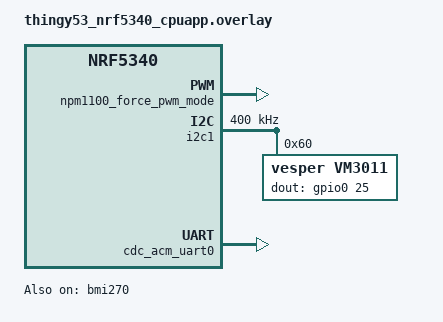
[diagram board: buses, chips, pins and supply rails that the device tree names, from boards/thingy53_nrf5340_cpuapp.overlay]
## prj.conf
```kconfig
# /* The Clear BSD License
#  *
#  * Copyright (c) 2025 EdgeImpulse Inc.
#  * All rights reserved.
#  *
#  * Redistribution and use in source and binary forms, with or without
#  * modification, are permitted (subject to the limitations in the disclaimer
#  * below) provided that the following conditions are met:
#  *
#  *   * Redistributions of source code must retain the above copyright notice,
#  *   this list of conditions and the following disclaimer.
#  *
#  *   * Redistributions in binary form must reproduce the above copyright
#  *   notice, this list of conditions and the following disclaimer in the
#  *   documentation and/or other materials provided with the distribution.
#  *
#  *   * Neither the name of the copyright holder nor the names of its
#  *   contributors may be used to endorse or promote products derived from this
#  *   software without specific prior written permission.
#  *
#  * NO EXPRESS OR IMPLIED LICENSES TO ANY PARTY'S PATENT RIGHTS ARE GRANTED BY
#  * THIS LICENSE. THIS SOFTWARE IS PROVIDED BY THE COPYRIGHT HOLDERS AND
#  * CONTRIBUTORS "AS IS" AND ANY EXPRESS OR IMPLIED WARRANTIES, INCLUDING, BUT NOT
#  * LIMITED TO, THE IMPLIED WARRANTIES OF MERCHANTABILITY AND FITNESS FOR A
#  * PARTICULAR PURPOSE ARE DISCLAIMED. IN NO EVENT SHALL THE COPYRIGHT HOLDER OR
#  * CONTRIBUTORS BE LIABLE FOR ANY DIRECT, INDIRECT, INCIDENTAL, SPECIAL,
#  * EXEMPLARY, OR CONSEQUENTIAL DAMAGES (INCLUDING, BUT NOT LIMITED TO,
#  * PROCUREMENT OF SUBSTITUTE GOODS OR SERVICES; LOSS OF USE, DATA, OR PROFITS; OR
#  * BUSINESS INTERRUPTION) HOWEVER CAUSED AND ON ANY THEORY OF LIABILITY, WHETHER
#  * IN CONTRACT, STRICT LIABILITY, OR TORT (INCLUDING NEGLIGENCE OR OTHERWISE)
#  * ARISING IN ANY WAY OUT OF THE USE OF THIS SOFTWARE, EVEN IF ADVISED OF THE
#  * POSSIBILITY OF SUCH DAMAGE.
#  */
################################################################################
# Application configuratin

# enable c++ support
CONFIG_CPLUSPLUS=y
CONFIG_STD_CPP11=y
CONFIG_LIB_CPLUSPLUS=y
CONFIG_NEWLIB_LIBC=y
CONFIG_NEWLIB_LIBC_FLOAT_PRINTF=y

# enable reboot from user space
CONFIG_REBOOT=y

# enable floating point unit
CONFIG_FPU=y

CONFIG_MAIN_STACK_SIZE=8192
CONFIG_SYSTEM_WORKQUEUE_STACK_SIZE=4096
CONFIG_EI_INFERENCE_THREAD_STACK=4096
CONFIG_HEAP_MEM_POOL_SIZE=170000

# serial console
CONFIG_UART_INTERRUPT_DRIVEN=y
CONFIG_CONSOLE_SUBSYS=n

CONFIG_NCS_SAMPLES_DEFAULTS=n
# Logging
CONFIG_ASSERT_NO_COND_INFO=y
CONFIG_ASSERT_NO_MSG_INFO=y

CONFIG_DEBUG=n
CONFIG_LOG=y
CONFIG_LOG_MODE_DEFERRED=y
CONFIG_LOG_PRINTK=y
CONFIG_LOG_BACKEND_UART=n
CONFIG_LOG_BACKEND_RTT=y

# configure Segger RTT
CONFIG_USE_SEGGER_RTT=y
CONFIG_SEGGER_RTT_BUFFER_SIZE_UP=4096

# configure bluetooth
CONFIG_BT=y
CONFIG_BT_PERIPHERAL=y
CONFIG_BT_DEVICE_NAME="Thingy-Jelle"
CONFIG_BT_DEVICE_APPEARANCE=833

CONFIG_BT_SMP=y
CONFIG_BT_SIGNING=y
CONFIG_BT_BONDABLE=y
CONFIG_BT_CONN_TX_MAX=64
CONFIG_BT_SETTINGS=y
CONFIG_SETTINGS=y

CONFIG_BT_PERIPHERAL_PREF_MIN_INT=16
CONFIG_BT_PERIPHERAL_PREF_MAX_INT=16
CONFIG_BT_PERIPHERAL_PREF_TIMEOUT=100
CONFIG_BT_GAP_AUTO_UPDATE_CONN_PARAMS=y
CONFIG_BT_RX_STACK_SIZE=4096

CONFIG_CJSON_LIB=y

# Bootloader and MCUmgr (OTA DFU) Configuration
CONFIG_MCUBOOT_IMAGE_VERSION="2.4.0+0"
CONFIG_NCS_SAMPLE_MCUMGR_BT_OTA_DFU=y
```

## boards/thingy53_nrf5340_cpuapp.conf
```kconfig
# /* The Clear BSD License
#  *
#  * Copyright (c) 2025 EdgeImpulse Inc.
#  * All rights reserved.
#  *
#  * Redistribution and use in source and binary forms, with or without
#  * modification, are permitted (subject to the limitations in the disclaimer
#  * below) provided that the following conditions are met:
#  *
#  *   * Redistributions of source code must retain the above copyright notice,
#  *   this list of conditions and the following disclaimer.
#  *
#  *   * Redistributions in binary form must reproduce the above copyright
#  *   notice, this list of conditions and the following disclaimer in the
#  *   documentation and/or other materials provided with the distribution.
#  *
#  *   * Neither the name of the copyright holder nor the names of its
#  *   contributors may be used to endorse or promote products derived from this
#  *   software without specific prior written permission.
#  *
#  * NO EXPRESS OR IMPLIED LICENSES TO ANY PARTY'S PATENT RIGHTS ARE GRANTED BY
#  * THIS LICENSE. THIS SOFTWARE IS PROVIDED BY THE COPYRIGHT HOLDERS AND
#  * CONTRIBUTORS "AS IS" AND ANY EXPRESS OR IMPLIED WARRANTIES, INCLUDING, BUT NOT
#  * LIMITED TO, THE IMPLIED WARRANTIES OF MERCHANTABILITY AND FITNESS FOR A
#  * PARTICULAR PURPOSE ARE DISCLAIMED. IN NO EVENT SHALL THE COPYRIGHT HOLDER OR
#  * CONTRIBUTORS BE LIABLE FOR ANY DIRECT, INDIRECT, INCIDENTAL, SPECIAL,
#  * EXEMPLARY, OR CONSEQUENTIAL DAMAGES (INCLUDING, BUT NOT LIMITED TO,
#  * PROCUREMENT OF SUBSTITUTE GOODS OR SERVICES; LOSS OF USE, DATA, OR PROFITS; OR
#  * BUSINESS INTERRUPTION) HOWEVER CAUSED AND ON ANY THEORY OF LIABILITY, WHETHER
#  * IN CONTRACT, STRICT LIABILITY, OR TORT (INCLUDING NEGLIGENCE OR OTHERWISE)
#  * ARISING IN ANY WAY OUT OF THE USE OF THIS SOFTWARE, EVEN IF ADVISED OF THE
#  * POSSIBILITY OF SUCH DAMAGE.
#  */
################################################################################
# Application configuration overlay - Thingy:53

CONFIG_STREAM_FLASH=y
CONFIG_FLASH_MAP=y
CONFIG_NVS=y
CONFIG_FLASH_SIMULATOR=n
CONFIG_SETTINGS_NVS=y

CONFIG_ZCBOR=y
CONFIG_ZCBOR_STOP_ON_ERROR=y

CONFIG_BT_L2CAP_TX_MTU=498
CONFIG_BT_BUF_ACL_RX_SIZE=502
CONFIG_BT_BUF_ACL_TX_SIZE=251

CONFIG_DK_LIBRARY=y

# Using built-in sensor
CONFIG_I2C=y
CONFIG_I2C_NRFX=y
CONFIG_SPI=y
CONFIG_NRFX_PDM=y
CONFIG_SENSOR=y

# 6-axis IMU (accelerometer + gyroscope)
CONFIG_BMI270=y

# acclerometer
CONFIG_ADXL362=y
CONFIG_ADXL362_ACCEL_RANGE_2G=y
CONFIG_ADXL362_ACCEL_ODR_400=y

# magnetometer
CONFIG_BMM150=y
CONFIG_BMM150_SAMPLING_RATE_RUNTIME=y
CONFIG_BMM150_SAMPLING_REP_XY=y
CONFIG_BMM150_SAMPLING_REP_Z=y
CONFIG_BMM150_PRESET_HIGH_ACCURACY=y

# color sensor
CONFIG_BH1749=y
CONFIG_BH1749_TRIGGER=n

# microphone
CONFIG_VM3011=y
CONFIG_VM3011_PDM_BUFFER_SIZE=1600
CONFIG_AUDIO=y
CONFIG_AUDIO_DMIC=y
CONFIG_AUDIO_DMIC_LOG_LEVEL_DBG=y

################################################################################
# External flash configuration
CONFIG_FLASH=y
CONFIG_FLASH_PAGE_LAYOUT=y
CONFIG_MPU_ALLOW_FLASH_WRITE=y

CONFIG_NORDIC_QSPI_NOR=y
CONFIG_NORDIC_QSPI_NOR_FLASH_LAYOUT_PAGE_SIZE=4096
CONFIG_NORDIC_QSPI_NOR_STACK_WRITE_BUFFER_SIZE=16

################################################################################
# Enable USB CDC ACM
CONFIG_USB_DEVICE_STACK=y
CONFIG_USB_NRFX_WORK_QUEUE_STACK_SIZE=1200
CONFIG_USB_DEVICE_PRODUCT="Application Thingy:53"
CONFIG_USB_DEVICE_VID=0x1915
CONFIG_USB_DEVICE_PID=0x530D
CONFIG_USB_CDC_ACM=y
CONFIG_USB_CDC_ACM_LOG_LEVEL_ERR=y
CONFIG_USB_DEVICE_LOG_LEVEL_ERR=y
```

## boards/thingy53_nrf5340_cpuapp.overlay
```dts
/* The Clear BSD License
 *
 * Copyright (c) 2025 EdgeImpulse Inc.
 * All rights reserved.
 *
 * Redistribution and use in source and binary forms, with or without
 * modification, are permitted (subject to the limitations in the disclaimer
 * below) provided that the following conditions are met:
 *
 *   * Redistributions of source code must retain the above copyright notice,
 *   this list of conditions and the following disclaimer.
 *
 *   * Redistributions in binary form must reproduce the above copyright
 *   notice, this list of conditions and the following disclaimer in the
 *   documentation and/or other materials provided with the distribution.
 *
 *   * Neither the name of the copyright holder nor the names of its
 *   contributors may be used to endorse or promote products derived from this
 *   software without specific prior written permission.
 *
 * NO EXPRESS OR IMPLIED LICENSES TO ANY PARTY'S PATENT RIGHTS ARE GRANTED BY
 * THIS LICENSE. THIS SOFTWARE IS PROVIDED BY THE COPYRIGHT HOLDERS AND
 * CONTRIBUTORS "AS IS" AND ANY EXPRESS OR IMPLIED WARRANTIES, INCLUDING, BUT NOT
 * LIMITED TO, THE IMPLIED WARRANTIES OF MERCHANTABILITY AND FITNESS FOR A
 * PARTICULAR PURPOSE ARE DISCLAIMED. IN NO EVENT SHALL THE COPYRIGHT HOLDER OR
 * CONTRIBUTORS BE LIABLE FOR ANY DIRECT, INDIRECT, INCIDENTAL, SPECIAL,
 * EXEMPLARY, OR CONSEQUENTIAL DAMAGES (INCLUDING, BUT NOT LIMITED TO,
 * PROCUREMENT OF SUBSTITUTE GOODS OR SERVICES; LOSS OF USE, DATA, OR PROFITS; OR
 * BUSINESS INTERRUPTION) HOWEVER CAUSED AND ON ANY THEORY OF LIABILITY, WHETHER
 * IN CONTRACT, STRICT LIABILITY, OR TORT (INCLUDING NEGLIGENCE OR OTHERWISE)
 * ARISING IN ANY WAY OUT OF THE USE OF THIS SOFTWARE, EVEN IF ADVISED OF THE
 * POSSIBILITY OF SUCH DAMAGE.
 */

&i2c1 {
    clock-frequency = <I2C_BITRATE_FAST>;
    vm3011: vm3011@60  {
        compatible = "vesper,vm3011";
        label = "VM3011";
        reg = <0x60>;
        clk-pin = <41>;
        data-pin = <27>;
        dout-gpios = <&gpio0 25 GPIO_ACTIVE_HIGH>;
    };
};

/ {
	npm1100_force_pwm_mode: npm1100_force_pwm_mode {
		status = "okay";
	};

	chosen {
		zephyr,console = &cdc_acm_uart0;
		zephyr,shell-uart = &cdc_acm_uart0;
		nordic,pm-ext-flash = &mx25r64;
	};

	aliases {
		light0 = &bh1749;
		bme68xi2c1 = &i2c1;
		mic0 = &i2c1;
		imu0 = &bmi270;
	};
};

/* 6-axis IMU (accelerometer + gyroscope), disabled by default in the board DTS */
&bmi270 {
	status = "okay";
};

&zephyr_udc0 {
	cdc_acm_uart0: cdc_acm_uart0 {
		compatible = "zephyr,cdc-acm-uart";
		label = "CDC_ACM_0";
	};
};
```

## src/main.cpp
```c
/* The Clear BSD License
 *
 * Copyright (c) 2025 EdgeImpulse Inc.
 * All rights reserved.
 *
 * Redistribution and use in source and binary forms, with or without
 * modification, are permitted (subject to the limitations in the disclaimer
 * below) provided that the following conditions are met:
 *
 *   * Redistributions of source code must retain the above copyright notice,
 *   this list of conditions and the following disclaimer.
 *
 *   * Redistributions in binary form must reproduce the above copyright
 *   notice, this list of conditions and the following disclaimer in the
 *   documentation and/or other materials provided with the distribution.
 *
 *   * Neither the name of the copyright holder nor the names of its
 *   contributors may be used to endorse or promote products derived from this
 *   software without specific prior written permission.
 *
 * NO EXPRESS OR IMPLIED LICENSES TO ANY PARTY'S PATENT RIGHTS ARE GRANTED BY
 * THIS LICENSE. THIS SOFTWARE IS PROVIDED BY THE COPYRIGHT HOLDERS AND
 * CONTRIBUTORS "AS IS" AND ANY EXPRESS OR IMPLIED WARRANTIES, INCLUDING, BUT NOT
 * LIMITED TO, THE IMPLIED WARRANTIES OF MERCHANTABILITY AND FITNESS FOR A
 * PARTICULAR PURPOSE ARE DISCLAIMED. IN NO EVENT SHALL THE COPYRIGHT HOLDER OR
 * CONTRIBUTORS BE LIABLE FOR ANY DIRECT, INDIRECT, INCIDENTAL, SPECIAL,
 * EXEMPLARY, OR CONSEQUENTIAL DAMAGES (INCLUDING, BUT NOT LIMITED TO,
 * PROCUREMENT OF SUBSTITUTE GOODS OR SERVICES; LOSS OF USE, DATA, OR PROFITS; OR
 * BUSINESS INTERRUPTION) HOWEVER CAUSED AND ON ANY THEORY OF LIABILITY, WHETHER
 * IN CONTRACT, STRICT LIABILITY, OR TORT (INCLUDING NEGLIGENCE OR OTHERWISE)
 * ARISING IN ANY WAY OUT OF THE USE OF THIS SOFTWARE, EVEN IF ADVISED OF THE
 * POSSIBILITY OF SUCH DAMAGE.
 */

#include "ei_at_handlers.h"
#include "ei_device_thingy53.h"
#include "ble/ei_ble_com.h"
#include "edge-impulse-sdk/porting/ei_classifier_porting.h"
#include "inference/ei_run_impulse.h"
#include "sensors/ei_environment_sensor.h"
#include "sensors/ei_inertial_sensor.h"
#include "sensors/ei_light_sensor.h"
#include "sensors/ei_mag_sensor.h"
#include "sensors/ei_microphone.h"
#include "wifi/wifi.h"
#include "wifi/ei_ws_client.h"
#include <zephyr/drivers/uart.h>
#include <zephyr/logging/log.h>
#include <nrfx_clock.h>
#include <zephyr/kernel.h>

#define LOG_MODULE_NAME main
LOG_MODULE_REGISTER(LOG_MODULE_NAME);

const struct device *uart;

void ei_putchar(char c)
{
    // it is ~30% faster than printf
    uart_fifo_fill(uart, (const uint8_t*)&c, 1);
}

int main(void)
{
    EiDeviceThingy53 *dev = static_cast<EiDeviceThingy53*>(EiDeviceInfo::get_device());
    uint8_t rcv_char;
    ATServer *at;

    /* output of printf is output immediately without buffering */
    setvbuf(stdout, NULL, _IONBF, 0);

    /* Switch CPU core clock to 128 MHz */
    nrfx_clock_divider_set(NRF_CLOCK_DOMAIN_HFCLK, NRF_CLOCK_HFCLK_DIV_1);

    /* Initialize board uart */
	uart = device_get_binding("CDC_ACM_0");
	if (!uart) {
        LOG_ERR("Failed to init CDC_ACM_0\n");
	}

    /* Setup the accelerometer sensor */
    if(ei_acc_init() == false) {
        LOG_ERR("Light sensor communication error occured");
    }

    // /* Setup the magnetometer sensor */
    // if(ei_mag_init() == false) {
    //     LOG_ERR("Magnetometer communication error occured");
    // }

    // /* Setup the light sensor */
    // if(ei_lightsensor_init() == false) {
    //     LOG_ERR("Light sensor communication error occured");
    // }

    // /* Setup the env sensor */
    // if(ei_environment_init() == false) {
    //     LOG_ERR("Environment sensor communication error occured");
    // }

    // /* Setup the microphone sensor */
    // if (ei_microphone_init() == false) {
    //     LOG_ERR("Microphone init failed!");
    // }

    // // init BLE stack
    ei_ble_com_init();

    // we have to do this later because the BLE stack is not available on boot
    dev->init_device_id();

    dev->set_state(eiStateFinished);

    ei_printf("Hello from Edge Impulse\r\n"
              "Compiled on %s %s\r\n", __DATE__, __TIME__);

    at = ei_at_init();
    at->print_prompt();

#ifdef CONFIG_WIFI_NRF700X
    char ssid[128] = { 0 };
    char password[128] = { 0 };
    int security = 0;

    dev->get_wifi_config(ssid, password, &security);

    if (strlen(ssid) != 0) {
        cmd_wifi_connect(ssid, password, security);
        // waithing to connect to wifi
        if(cmd_wifi_connecting() < 0) {
            LOG_ERR("Failed to connect to WiFi\n");
            ei_printf("ERR: Failed to connect to WiFi\n");
        }
        // waiting to get dhcp config
        if(cmd_dhcp_configured() < 0) {
            LOG_ERR("Failed to configure DHCP\n");
            ei_printf("ERR: Failed to configure DHCP\n");
        }
        ei_sleep(300);
        LOG_INF("WiFi connected\n");
        ei_printf("WiFi connected\n");
        ei_ws_client_start(dev, nullptr);
    }
#endif

    while(1) {
        while(uart_fifo_read(uart, &rcv_char, 1) == 1) {
            if(is_inference_running() && rcv_char == 'b') {
                ei_stop_impulse();
                at->print_prompt();
                continue;
            }
            dev->set_serial_channel(UART);
            at->handle(rcv_char);
        }
        ei_sleep(1);
    }
}
```
